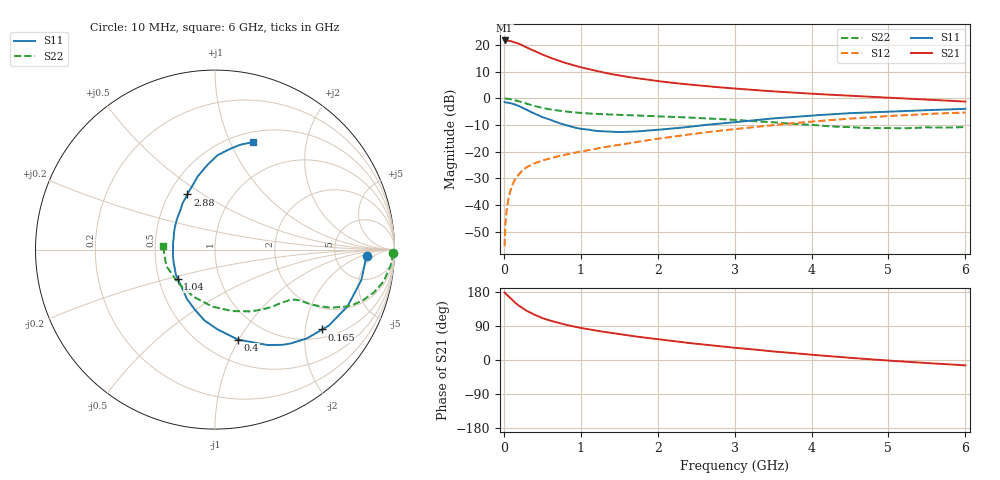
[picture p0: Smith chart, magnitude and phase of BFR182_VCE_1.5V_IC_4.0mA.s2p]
! Infineon Technologies  Discrete & RF Semiconductors
! BFR182
! VCE =  1.5 V,  IC =  4.0 mA
! Common Emitter S-Parameters:  Nov 2015
# GHz  S  MA  R  50
!  f  S11  S21  S12  S22
! GHz  MAG  ANG  MAG  ANG  MAG  ANG  MAG  ANG
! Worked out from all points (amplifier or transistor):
!   210 points, 10 MHz to 6 GHz, reference 50 ohm
!   highest |S21| = 21.7 dB at 10 MHz (marker M1)
!   |S21| within 3 dB of that: start of sweep to 325 MHz
!   unconditionally stable (mu >= 1): 1.134 GHz to 2.957 GHz
!   at 185 MHz: K = 0.29, MSG = 24.7 dB, |S12| = -28.8 dB
!   at 1.52 GHz: K = 1.06, MAG = 11.4 dB, |S12| = -17.3 dB
!   at 6 GHz: K = 0.90, MSG = 2.0 dB, |S12| = -5.3 dB
!   S11 on the Smith chart (normalised r, x): 10 MHz: 11, -3; 165 MHz: 1.24, -2.47; 400 MHz: 0.72, -0.99; 1.04 GHz: 0.63, -0.22; 2.88 GHz: 0.62, +0.43; 6 GHz: 0.61, +1.22
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0.01  0.8473 -2.4  12.11 178.1  0.0017 88.2  0.9922 -1.1
0.02  0.8397 -4.6  11.9 175.8  0.0043 82.2  0.9896 -2.3
0.035  0.8346 -8.2  11.97 172.9  0.0076 83.4  0.9853 -3.8
0.05  0.8329 -11.8  12.07 170.0  0.0109 83.9  0.9818 -5.4
0.1  0.8033 -23.2  11.69 160.5  0.0217 77.5  0.9565 -10.6
0.165  0.7448 -36.7  10.85 148.5  0.0333 71.0  0.9039 -16.1
0.2  0.7122 -44.0  10.47 142.8  0.0384 68.7  0.8729 -18.8
0.26  0.6502 -54.7  9.486 134.5  0.0468 64.1  0.8206 -22.2
0.3  0.6068 -61.2  8.896 129.4  0.0514 62.7  0.7896 -23.8
0.4  0.5174 -75.7  7.704 119.3  0.0606 58.6  0.7175 -26.8
0.5  0.4449 -88.2  6.607 110.6  0.0681 57.2  0.6594 -28.5
0.6  0.3984 -98.6  5.784 104.1  0.075 56.3  0.6193 -29.6
0.8  0.3167 -119.5  4.595 93.2  0.0879 56.0  0.5666 -30.6
1.02  0.2659 -140.1  3.759 83.9  0.1016 57.3  0.5295 -31.8
1.04  0.2638 -141.9  3.7 83.2  0.1029 57.4  0.5271 -32.0
1.4  0.2369 -172.0  2.837 71.3  0.1274 58.7  0.4961 -35.1
2.02  0.2587 148.8  2.084 54.2  0.1764 58.6  0.4591 -42.4
2.88  0.3434 116.6  1.573 34.9  0.2538 54.6  0.403 -58.0
3.1  0.3682 111.3  1.486 30.5  0.2747 52.7  0.3853 -63.2
4.1  0.485 93.5  1.197 12.2  0.3756 43.0  0.309 -96.5
5.1  0.571 80.9  1.012 -2.9  0.4736 30.6  0.2753 -142.4
6  0.6344 70.7  0.868 -14.2  0.542 17.5  0.2903 175.9
